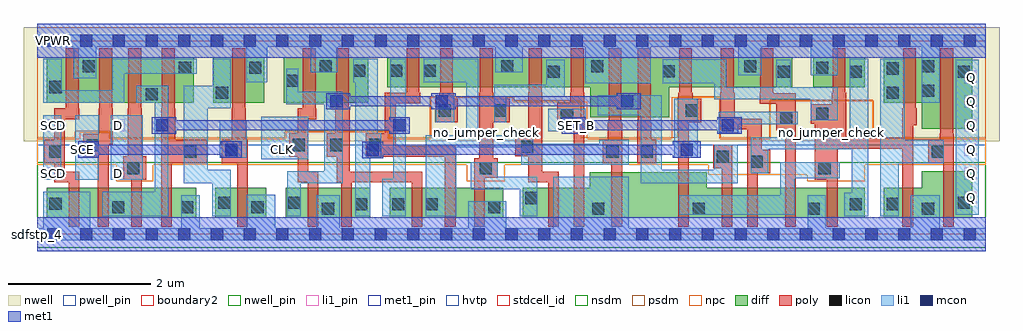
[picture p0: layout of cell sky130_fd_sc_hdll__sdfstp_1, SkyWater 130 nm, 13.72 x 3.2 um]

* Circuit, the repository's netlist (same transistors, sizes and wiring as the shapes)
* Copyright 2020 The SkyWater PDK Authors
*
* Licensed under the Apache License, Version 2.0 (the "License");
* you may not use this file except in compliance with the License.
* You may obtain a copy of the License at
*
*     https://www.apache.org/licenses/LICENSE-2.0
*
* Unless required by applicable law or agreed to in writing, software
* distributed under the License is distributed on an "AS IS" BASIS,
* WITHOUT WARRANTIES OR CONDITIONS OF ANY KIND, either express or implied.
* See the License for the specific language governing permissions and
* limitations under the License.
*
* SPDX-License-Identifier: Apache-2.0

.SUBCKT sky130_fd_sc_hdll__sdfstp_1 CLK D SCD SCE SET_B VGND VNB VPB VPWR Q
*.PININFO CLK:I D:I SCD:I SCE:I SET_B:I VGND:I VNB:I VPB:I VPWR:I Q:O
MI645 sceb SCE VPWR VPB sky130_fd_pr__pfet_01v8_hvt m=1 w=0.64U l=0.18U mult=1
+ sa=0.265 sb=0.265 sd=0.28 area=0.063 perim=1.14
MI658 M1 M0 VPWR VPB sky130_fd_pr__pfet_01v8_hvt m=1 w=0.42U l=0.18U mult=1 sa=0.265
+ sb=0.265 sd=0.28 area=0.063 perim=1.14
MI47 clkpos clkneg VPWR VPB sky130_fd_pr__pfet_01v8_hvt m=1 w=0.64U l=0.18U mult=1
+ sa=0.265 sb=0.265 sd=0.28 area=0.063 perim=1.14
MI663 net165 S0 VPWR VPB sky130_fd_pr__pfet_01v8_hvt m=1 w=0.64U l=0.18U mult=1
+ sa=0.265 sb=0.265 sd=0.28 area=0.063 perim=1.14
MI660 Q net165 VPWR VPB sky130_fd_pr__pfet_01v8_hvt m=1 w=1.0U l=0.18U mult=1 sa=0.265
+ sb=0.265 sd=0.28 area=0.063 perim=1.14
MI659 M1 SET_B VPWR VPB sky130_fd_pr__pfet_01v8_hvt m=1 w=0.42U l=0.18U mult=1
+ sa=0.265 sb=0.265 sd=0.28 area=0.063 perim=1.14
MI662 net109 M1 VPWR VPB sky130_fd_pr__pfet_01v8_hvt m=1 w=0.42U l=0.18U mult=1
+ sa=0.265 sb=0.265 sd=0.28 area=0.063 perim=1.14
MI664 M0 clkneg net109 VPB sky130_fd_pr__pfet_01v8_hvt m=1 w=0.42U l=0.18U mult=1
+ sa=0.265 sb=0.265 sd=0.28 area=0.063 perim=1.14
MI6 net96 S1 VPWR VPB sky130_fd_pr__pfet_01v8_hvt m=1 w=0.42U l=0.18U mult=1 sa=0.265
+ sb=0.265 sd=0.28 area=0.063 perim=1.14
MI669 S0 clkpos net96 VPB sky130_fd_pr__pfet_01v8_hvt m=1 w=0.42U l=0.18U mult=1
+ sa=0.265 sb=0.265 sd=0.28 area=0.063 perim=1.14
MI24 S0 SET_B VPWR VPB sky130_fd_pr__pfet_01v8_hvt m=1 w=0.42U l=0.18U mult=1 sa=0.265
+ sb=0.265 sd=0.28 area=0.063 perim=1.14
MI648 S1 S0 VPWR VPB sky130_fd_pr__pfet_01v8_hvt m=1 w=0.42U l=0.18U mult=1 sa=0.265
+ sb=0.265 sd=0.28 area=0.063 perim=1.14
MI38 S0 clkneg net84 VPB sky130_fd_pr__pfet_01v8_hvt m=1 w=0.84U l=0.18U mult=1
+ sa=0.265 sb=0.265 sd=0.28 area=0.063 perim=1.14
MI37 net84 M0 VPWR VPB sky130_fd_pr__pfet_01v8_hvt m=1 w=0.84U l=0.18U mult=1 sa=0.265
+ sb=0.265 sd=0.28 area=0.063 perim=1.14
MI43 db clkpos M0 VPB sky130_fd_pr__pfet_01v8_hvt m=1 w=0.42U l=0.18U mult=1 sa=0.265
+ sb=0.265 sd=0.28 area=0.063 perim=1.14
MI45 clkneg CLK VPWR VPB sky130_fd_pr__pfet_01v8_hvt m=1 w=0.64U l=0.18U mult=1
+ sa=0.265 sb=0.265 sd=0.28 area=0.063 perim=1.14
MI101 db sceb p1 VPB sky130_fd_pr__pfet_01v8_hvt m=1 w=0.64U l=0.18U mult=1 sa=0.265
+ sb=0.265 sd=0.28 area=0.063 perim=1.14
MI107 p0 SCE VPWR VPB sky130_fd_pr__pfet_01v8_hvt m=1 w=0.64U l=0.18U mult=1 sa=0.265
+ sb=0.265 sd=0.28 area=0.063 perim=1.14
MI94 db D p0 VPB sky130_fd_pr__pfet_01v8_hvt m=1 w=0.64U l=0.18U mult=1 sa=0.265
+ sb=0.265 sd=0.28 area=0.063 perim=1.14
MI108 p1 SCD VPWR VPB sky130_fd_pr__pfet_01v8_hvt m=1 w=0.64U l=0.18U mult=1 sa=0.265
+ sb=0.265 sd=0.28 area=0.063 perim=1.14
MI34 S0 clkpos net189 VNB sky130_fd_pr__nfet_01v8 m=1 w=0.64U l=0.15U mult=1 sa=0.265
+ sb=0.265 sd=0.28 area=0.063 perim=1.14
MI27 net209 S1 net157 VNB sky130_fd_pr__nfet_01v8 m=1 w=0.42U l=0.15U mult=1 sa=0.265
+ sb=0.265 sd=0.28 area=0.063 perim=1.14
MI647 S1 S0 VGND VNB sky130_fd_pr__nfet_01v8 m=1 w=0.42U l=0.15U mult=1 sa=0.265
+ sb=0.265 sd=0.28 area=0.063 perim=1.14
MI655 M0 clkpos net200 VNB sky130_fd_pr__nfet_01v8 m=1 w=0.42U l=0.15U mult=1 sa=0.265
+ sb=0.265 sd=0.28 area=0.063 perim=1.14
MI656 M1 M0 net196 VNB sky130_fd_pr__nfet_01v8 m=1 w=0.42U l=0.15U mult=1 sa=0.265
+ sb=0.265 sd=0.28 area=0.063 perim=1.14
MI654 net200 M1 VGND VNB sky130_fd_pr__nfet_01v8 m=1 w=0.42U l=0.15U mult=1 sa=0.265
+ sb=0.265 sd=0.28 area=0.063 perim=1.14
MI36 net189 M0 VGND VNB sky130_fd_pr__nfet_01v8 m=1 w=0.64U l=0.15U mult=1 sa=0.265
+ sb=0.265 sd=0.28 area=0.063 perim=1.14
MI26 S0 clkneg net209 VNB sky130_fd_pr__nfet_01v8 m=1 w=0.42U l=0.15U mult=1 sa=0.265
+ sb=0.265 sd=0.28 area=0.063 perim=1.14
MI42 db clkneg M0 VNB sky130_fd_pr__nfet_01v8 m=1 w=0.42U l=0.15U mult=1 sa=0.265
+ sb=0.265 sd=0.28 area=0.063 perim=1.14
MI46 clkpos clkneg VGND VNB sky130_fd_pr__nfet_01v8 m=1 w=0.42U l=0.15U mult=1
+ sa=0.265 sb=0.265 sd=0.28 area=0.063 perim=1.14
MI44 clkneg CLK VGND VNB sky130_fd_pr__nfet_01v8 m=1 w=0.42U l=0.15U mult=1 sa=0.265
+ sb=0.265 sd=0.28 area=0.063 perim=1.14
MI657 net196 SET_B VGND VNB sky130_fd_pr__nfet_01v8 m=1 w=0.42U l=0.15U mult=1
+ sa=0.265 sb=0.265 sd=0.28 area=0.063 perim=1.14
MI652 net165 S0 VGND VNB sky130_fd_pr__nfet_01v8 m=1 w=0.42U l=0.15U mult=1 sa=0.265
+ sb=0.265 sd=0.28 area=0.063 perim=1.14
MI644 sceb SCE VGND VNB sky130_fd_pr__nfet_01v8 m=1 w=0.42U l=0.15U mult=1 sa=0.265
+ sb=0.265 sd=0.28 area=0.063 perim=1.14
MI25 net157 SET_B VGND VNB sky130_fd_pr__nfet_01v8 m=1 w=0.42U l=0.15U mult=1 sa=0.265
+ sb=0.265 sd=0.28 area=0.063 perim=1.14
MI653 Q net165 VGND VNB sky130_fd_pr__nfet_01v8 m=1 w=0.65U l=0.15U mult=1 sa=0.265
+ sb=0.265 sd=0.28 area=0.063 perim=1.14
MI98 db D n0 VNB sky130_fd_pr__nfet_01v8 m=1 w=0.42U l=0.15U mult=1 sa=0.265 sb=0.265
+ sd=0.28 area=0.525 perim=3.1
MI103 n1 SCD VGND VNB sky130_fd_pr__nfet_01v8 m=1 w=0.42U l=0.15U mult=1 sa=0.265
+ sb=0.265 sd=0.28 area=0.525 perim=3.1
MI120 db SCE n1 VNB sky130_fd_pr__nfet_01v8 m=1 w=0.42U l=0.15U mult=1 sa=0.265
+ sb=0.265 sd=0.28 area=0.525 perim=3.1
MI104 n0 sceb VGND VNB sky130_fd_pr__nfet_01v8 m=1 w=0.42U l=0.15U mult=1 sa=0.265
+ sb=0.265 sd=0.28 area=0.525 perim=3.1
.ENDS sky130_fd_sc_hdll__sdfstp_1

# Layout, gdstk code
import gdstk
lib = gdstk.Library(unit=1e-6, precision=1e-09)
def R(c, l, rs):  # rectangles x0, y0, x1, y1
    for r in rs: c.add(gdstk.rectangle(r[:2], r[2:], *l))
def A(c, l, x, y, w, h, nx, ny, dx, dy):  # array of equal rectangles
    R(c, l, [(x+i*dx, y+j*dy, x+i*dx+w, y+j*dy+h) for i in range(nx) for j in range(ny)])
def P(c, l, *ps):  # polygons
    for p in ps: c.add(gdstk.Polygon(p, *l))
nwell_pin = (64, 16)
nwell = (64, 20)
diff = (65, 20)
poly = (66, 20)
licon = (66, 44)
li1_pin = (67, 16)
li1 = (67, 20)
mcon = (67, 44)
met1_pin = (68, 16)
met1 = (68, 20)
hvtp = (78, 44)
stdcell_id = (81, 4)
nsdm = (93, 44)
psdm = (94, 20)
npc = (95, 20)
pwell_pin = (122, 16)
boundary2 = (236, 0)

sky130_fd_sc_hdll__sdfst = lib.new_cell('sky130_fd_sc_hdll__sdfstp_1')
R(sky130_fd_sc_hdll__sdfst, nwell_pin, [(0.145,2.635,0.315,2.805)])
R(sky130_fd_sc_hdll__sdfst, nwell, [(-0.19,1.305,13.53,2.91)])
R(sky130_fd_sc_hdll__sdfst, diff, [(0.135,0.235,2.235,0.655), (2.505,0.235,3.225,0.655), (3.495,0.235,4.685,0.655), (4.955,0.235,6.555,0.655), (0.135,1.845,2.205,2.485), (2.475,1.845,3.195,2.485), (3.465,1.845,4.655,2.485), (10.915,2.065,11.635,2.485)])
P(sky130_fd_sc_hdll__sdfst, diff, [(13.15,2.485),(11.905,2.485),(11.905,1.845),(12.44,1.845),(12.44,1.485),(13.15,1.485)],
  [(11.635,0.655),(9.415,0.655),(9.415,0.875),(7.77,0.875),(7.77,0.655),(6.825,0.655),(6.825,0.235),(11.635,0.235)],
  [(13.15,0.885),(12.44,0.885),(12.44,0.655),(11.905,0.655),(11.905,0.235),(13.15,0.235)],
  [(10.62,2.485),(4.925,2.485),(4.925,2.065),(7.775,2.065),(7.775,1.645),(8.885,1.645),(8.885,2.065),(10.62,2.065)])
P(sky130_fd_sc_hdll__sdfst, poly, [(0.595,1.77),(0.585,1.77),(0.585,2.615),(0.405,2.615),(0.405,1.77),(0.24,1.77),(0.24,1.325),(0.105,1.325),(0.105,0.995),(0.24,0.995),(0.24,0.73),(0.445,0.73),(0.445,0.105),(0.595,0.105),(0.595,0.88),(0.39,0.88),(0.39,1.62),(0.595,1.62)],
  [(1.065,1.77),(1.055,1.77),(1.055,2.615),(0.875,2.615),(0.875,1.77),(0.865,1.77),(0.865,1.415),(0.65,1.415),(0.65,1.085),(0.855,1.085),(0.855,0.105),(1.005,0.105),(1.005,1.265),(1.065,1.265)],
  [(1.535,1.095),(1.475,1.095),(1.475,1.77),(1.465,1.77),(1.465,2.615),(1.285,2.615),(1.285,1.77),(1.275,1.77),(1.275,1.095),(1.215,1.095),(1.215,0.765),(1.325,0.765),(1.325,0.105),(1.475,0.105),(1.475,0.765),(1.535,0.765)],
  [(2.39,1.325),(1.945,1.325),(1.945,1.77),(1.935,1.77),(1.935,2.615),(1.755,2.615),(1.755,1.77),(1.745,1.77),(1.745,0.105),(1.895,0.105),(1.895,0.995),(2.39,0.995)],
  [(2.965,1.325),(2.935,1.325),(2.935,1.77),(2.925,1.77),(2.925,2.615),(2.745,2.615),(2.745,1.77),(2.735,1.77),(2.735,1.325),(2.6,1.325),(2.6,0.995),(2.815,0.995),(2.815,0.105),(2.965,0.105)],
  [(3.955,0.88),(3.815,0.88),(3.815,1.62),(3.925,1.62),(3.925,1.77),(3.915,1.77),(3.915,2.615),(3.735,2.615),(3.735,1.77),(3.665,1.77),(3.665,1.42),(3.545,1.42),(3.545,1.09),(3.665,1.09),(3.665,0.73),(3.805,0.73),(3.805,0.105),(3.955,0.105)],
  [(5.415,0.88),(4.395,0.88),(4.395,1.77),(4.385,1.77),(4.385,2.615),(4.205,2.615),(4.205,1.77),(4.195,1.77),(4.195,1.42),(4.075,1.42),(4.075,1.09),(4.21,1.09),(4.21,0.73),(4.275,0.73),(4.275,0.105),(4.425,0.105),(4.425,0.73),(5.265,0.73),(5.265,0.105),(5.415,0.105)],
  [(5.885,1.24),(5.04,1.24),(5.04,1.84),(5.385,1.84),(5.385,1.99),(5.375,1.99),(5.375,2.615),(5.195,2.615),(5.195,1.99),(4.89,1.99),(4.89,1.42),(4.62,1.42),(4.62,1.09),(5.735,1.09),(5.735,0.105),(5.885,0.105)],
  [(5.915,1.905),(5.855,1.905),(5.855,1.99),(5.845,1.99),(5.845,2.615),(5.665,2.615),(5.665,1.99),(5.655,1.99),(5.655,1.905),(5.595,1.905),(5.595,1.575),(5.915,1.575)],
  [(6.645,1.905),(6.415,1.905),(6.415,1.99),(6.405,1.99),(6.405,2.615),(6.225,2.615),(6.225,1.99),(6.215,1.99),(6.215,1.065),(6.145,1.065),(6.145,0.105),(6.295,0.105),(6.295,0.795),(6.475,0.795),(6.475,1.065),(6.415,1.065),(6.415,1.575),(6.645,1.575)],
  [(7.335,0.88),(7.105,0.88),(7.105,1.99),(7.095,1.99),(7.095,2.615),(6.915,2.615),(6.915,1.99),(6.905,1.99),(6.905,1.365),(6.725,1.365),(6.725,1.095),(6.905,1.095),(6.905,0.73),(7.185,0.73),(7.185,0.105),(7.335,0.105)],
  [(7.695,1.99),(7.685,1.99),(7.685,2.615),(7.505,2.615),(7.505,1.99),(7.495,1.99),(7.495,1.845),(7.315,1.845),(7.315,1.515),(7.545,1.515),(7.545,0.105),(7.695,0.105)],
  [(8.225,1.57),(8.215,1.57),(8.215,2.615),(8.035,2.615),(8.035,1.57),(8.025,1.57),(8.025,1.325),(7.955,1.325),(7.955,0.995),(8.075,0.995),(8.075,0.105),(8.225,0.105)],
  [(8.705,1.325),(8.635,1.325),(8.635,1.57),(8.625,1.57),(8.625,2.615),(8.445,2.615),(8.445,1.57),(8.435,1.57),(8.435,0.995),(8.705,0.995)],
  [(9.34,1.905),(9.215,1.905),(9.215,1.99),(9.205,1.99),(9.205,2.615),(9.025,2.615),(9.025,1.99),(9.015,1.99),(9.015,0.105),(9.165,0.105),(9.165,1.575),(9.34,1.575)],
  [(9.775,1.255),(9.505,1.255),(9.505,0.925),(9.625,0.925),(9.625,0.105),(9.775,0.105)],
  [(10.305,1.185),(10.185,1.185),(10.185,1.625),(9.805,1.625),(9.805,1.99),(9.795,1.99),(9.795,2.615),(9.615,2.615),(9.615,1.99),(9.605,1.99),(9.605,1.475),(9.985,1.475),(9.985,0.105),(10.135,0.105),(10.135,0.855),(10.305,0.855)],
  [(10.665,1.985),(10.36,1.985),(10.36,1.99),(10.35,1.99),(10.35,2.615),(10.17,2.615),(10.17,1.99),(10.16,1.99),(10.16,1.835),(10.395,1.835),(10.395,1.465),(10.515,1.465),(10.515,0.105),(10.665,0.105)],
  [(12.365,1.77),(12.355,1.77),(12.355,2.615),(12.175,2.615),(12.175,1.77),(12.165,1.77),(12.165,1.355),(11.375,1.355),(11.375,1.99),(11.365,1.99),(11.365,2.615),(11.185,2.615),(11.185,1.99),(11.175,1.99),(11.175,1.825),(10.875,1.825),(10.875,1.555),(10.935,1.555),(10.935,0.765),(11.105,0.765),(11.105,0.105),(11.255,0.105),(11.255,1.205),(12.165,1.205),(12.165,0.105),(12.315,0.105),(12.315,1.535),(12.365,1.535)],
  [(12.89,1.41),(12.88,1.41),(12.88,2.615),(12.7,2.615),(12.7,1.41),(12.69,1.41),(12.69,1.325),(12.525,1.325),(12.525,0.995),(12.74,0.995),(12.74,0.105),(12.89,0.105)])
R(sky130_fd_sc_hdll__sdfst, licon, [(4.005,0.275,4.175,0.445), (7.805,0.275,7.975,0.445), (9.215,0.275,9.385,0.445), (10.835,0.275,11.005,0.445), (12.44,0.275,12.61,0.445), (1.055,0.295,1.225,0.465), (2.025,0.295,2.195,0.465), (3.015,0.295,3.185,0.465), (6.345,0.295,6.515,0.465), (4.475,0.335,4.645,0.505), (4.995,0.335,5.165,0.505), (5.465,0.335,5.635,0.505), (11.425,0.335,11.595,0.505), (11.945,0.34,12.115,0.51), (0.175,0.345,0.345,0.515), (2.545,0.355,2.715,0.525), (3.535,0.355,3.705,0.525), (12.94,0.355,13.11,0.525), (6.865,0.425,7.035,0.595), (1.265,0.845,1.435,1.015), (6.225,0.845,6.395,1.015), (10.985,0.845,11.155,1.015), (10.035,0.935,10.205,1.105), (9.555,1.005,9.725,1.175), (0.17,1.075,0.34,1.245), (2.065,1.075,2.235,1.245), (2.65,1.075,2.82,1.245), (8.005,1.075,8.175,1.245), (8.485,1.075,8.655,1.245), (12.575,1.075,12.745,1.245), (6.805,1.145,6.975,1.315), (0.7,1.165,0.87,1.335), (3.595,1.17,3.765,1.34), (4.125,1.17,4.295,1.34), (4.67,1.17,4.84,1.34), (10.445,1.545,10.615,1.715), (7.365,1.595,7.535,1.765), (10.955,1.605,11.125,1.775), (5.645,1.655,5.815,1.825), (6.425,1.655,6.595,1.825), (9.12,1.655,9.29,1.825), (1.525,1.885,1.695,2.055), (2.515,1.905,2.685,2.075), (11.945,1.905,12.115,2.075), (12.44,1.935,12.61,2.105), (0.175,1.985,0.345,2.155), (3.505,2.075,3.675,2.245), (7.18,2.2,7.35,2.37), (10.41,2.2,10.58,2.37), (11.425,2.2,11.595,2.37), (12.94,2.2,13.11,2.37), (8.795,2.205,8.965,2.375), (4.445,2.215,4.615,2.385), (4.965,2.215,5.135,2.385), (5.435,2.215,5.605,2.385), (11.945,2.245,12.115,2.415), (1.995,2.255,2.165,2.425), (2.985,2.255,3.155,2.425), (10.955,2.255,11.125,2.425), (0.645,2.275,0.815,2.445), (3.975,2.275,4.145,2.445), (6.525,2.275,6.695,2.445), (7.79,2.275,7.96,2.445), (9.94,2.275,10.11,2.445), (12.44,2.275,12.61,2.445)])
A(sky130_fd_sc_hdll__sdfst, li1_pin, 13.035, 0.425, 0.17, 0.17, 1, 6, 0, 0.34)
R(sky130_fd_sc_hdll__sdfst, li1_pin, [(0.145,0.765,0.315,0.935), (1.065,0.765,1.235,0.935), (3.365,1.105,3.535,1.275), (0.145,1.445,0.315,1.615), (1.065,1.445,1.235,1.615)])
R(sky130_fd_sc_hdll__sdfst, li1, [(12.915,0.275,13.24,2.45), (0.085,0.765,0.34,1.675), (0.54,0.765,0.87,1.675), (1.04,0.765,1.485,1.675), (3.155,1.055,3.815,1.65), (2.57,1.075,2.95,1.6), (8.955,1.075,9.29,1.905), (7.19,1.445,7.715,1.765), (5.605,1.575,5.865,1.955)])
P(sky130_fd_sc_hdll__sdfst, li1, [(1.845,2.085),(1.395,2.085),(1.395,1.845),(1.655,1.845),(1.655,0.595),(0.92,0.595),(0.92,0.255),(1.845,0.255)],
  [(2.245,2.465),(1.055,2.465),(1.055,2.025),(0.345,2.025),(0.345,2.465),(0.085,2.465),(0.085,1.845),(1.225,1.845),(1.225,2.255),(2.245,2.255)],
  [(2.72,0.905),(2.4,0.905),(2.4,1.77),(2.72,1.77),(2.72,2.465),(2.47,2.465),(2.47,2.085),(2.065,2.085),(2.065,0.715),(2.46,0.715),(2.46,0.255),(2.72,0.255)],
  [(4.295,2),(3.675,2),(3.675,2.325),(3.505,2.325),(3.505,1.83),(4.035,1.83),(4.035,0.885),(3.52,0.885),(3.52,0.255),(3.705,0.255),(3.705,0.715),(4.295,0.715)],
  [(4.84,1.42),(4.79,1.42),(4.79,2.465),(4.445,2.465),(4.445,2.135),(4.475,2.135),(4.475,0.255),(4.685,0.255),(4.685,1.085),(4.84,1.085)],
  [(5.18,2.465),(4.965,2.465),(4.965,1.59),(5.01,1.59),(5.01,0.78),(4.855,0.78),(4.855,0.255),(5.18,0.255)],
  [(7.035,0.805),(6.475,0.805),(6.475,1.015),(6.095,1.015),(6.095,0.635),(6.785,0.635),(6.785,0.255),(7.035,0.255)],
  [(7.42,2.45),(7.155,2.45),(7.155,2.105),(6.425,2.105),(6.425,1.575),(6.595,1.575),(6.595,1.935),(7.42,1.935)],
  [(13.34,2.805),(0,2.805),(0,2.635),(0.515,2.635),(0.515,2.195),(0.835,2.195),(0.835,2.635),(2.94,2.635),(2.94,2.14),(3.235,2.14),(3.235,2.635),(3.845,2.635),(3.845,2.275),(4.225,2.275),(4.225,2.635),(6.445,2.635),(6.445,2.275),(6.83,2.275),(6.83,2.635),(7.71,2.635),(7.71,2.125),(8.625,2.125),(8.625,2.635),(9.86,2.635),(9.86,2.235),(10.19,2.235),(10.19,2.635),(10.875,2.635),(10.875,2.235),(11.255,2.235),(11.255,2.635),(12.435,2.635),(12.435,1.845),(12.69,1.845),(12.69,2.635),(13.34,2.635)],
  [(8.315,1.325),(7.905,1.325),(7.905,1.275),(6.975,1.275),(6.975,1.395),(6.205,1.395),(6.205,2.465),(5.435,2.465),(5.435,2.135),(6.035,2.135),(6.035,1.395),(5.465,1.395),(5.465,0.255),(5.89,0.255),(5.89,1.225),(6.805,1.225),(6.805,0.975),(8.315,0.975)],
  [(9.85,1.255),(9.52,1.255),(9.52,0.905),(8.785,0.905),(8.785,1.955),(7.885,1.955),(7.885,1.67),(8.485,1.67),(8.485,0.72),(9.85,0.72)],
  [(10.695,1.725),(9.58,1.725),(9.58,1.425),(9.86,1.425),(9.86,1.545),(10.695,1.545)],
  [(11.255,2.065),(10.595,2.065),(10.595,2.45),(10.395,2.45),(10.395,2.065),(9.69,2.065),(9.69,2.46),(8.795,2.46),(8.795,2.125),(9.52,2.125),(9.52,1.895),(10.875,1.895),(10.875,1.605),(11.255,1.605)],
  [(11.285,1.015),(10.45,1.015),(10.45,0.545),(9.025,0.545),(9.025,0.275),(10.65,0.275),(10.65,0.785),(11.285,0.785)],
  [(11.685,2.465),(11.425,2.465),(11.425,1.365),(10.035,1.365),(10.035,0.855),(10.28,0.855),(10.28,1.195),(11.455,1.195),(11.455,0.585),(11.345,0.585),(11.345,0.255),(11.685,0.255)],
  [(12.745,1.325),(12.195,1.325),(12.195,2.465),(11.855,2.465),(11.855,0.255),(12.115,0.255),(12.115,0.995),(12.745,0.995)],
  [(13.34,0.085),(12.69,0.085),(12.69,0.55),(12.285,0.55),(12.285,0.085),(11.085,0.085),(11.085,0.545),(10.835,0.545),(10.835,0.085),(8.315,0.085),(8.315,0.805),(7.255,0.805),(7.255,0.085),(6.595,0.085),(6.595,0.465),(6.06,0.465),(6.06,0.085),(4.255,0.085),(4.255,0.545),(3.925,0.545),(3.925,0.085),(3.35,0.085),(3.35,0.555),(2.94,0.555),(2.94,0.085),(2.29,0.085),(2.29,0.545),(2.025,0.545),(2.025,0.085),(0.75,0.085),(0.75,0.595),(0.085,0.595),(0.085,0.085),(0,0.085),(0,-0.085),(13.34,-0.085)])
A(sky130_fd_sc_hdll__sdfst, mcon, 0.145, -0.085, 0.17, 0.17, 29, 2, 0.46, 2.72)
R(sky130_fd_sc_hdll__sdfst, mcon, [(4.635,1.1,4.805,1.27), (0.64,1.105,0.81,1.275), (2.645,1.105,2.815,1.275), (9.05,1.105,9.22,1.275), (1.675,1.445,1.845,1.615), (5.01,1.445,5.18,1.615), (7.435,1.445,7.605,1.615), (9.625,1.445,9.795,1.615), (4.125,1.785,4.295,1.955), (5.605,1.785,5.775,1.955), (8.21,1.785,8.38,1.955)])
R(sky130_fd_sc_hdll__sdfst, met1_pin, [(0.145,-0.085,0.315,0.085), (0.605,1.105,0.775,1.275), (7.505,1.445,7.675,1.615), (0.145,2.635,0.315,2.805)])
R(sky130_fd_sc_hdll__sdfst, met1, [(0,-0.24,13.34,0.24), (0,2.48,13.34,2.96)])
P(sky130_fd_sc_hdll__sdfst, met1, [(2.875,1.305),(2.585,1.305),(2.585,1.26),(0.87,1.26),(0.87,1.305),(0.58,1.305),(0.58,1.075),(0.87,1.075),(0.87,1.12),(2.585,1.12),(2.585,1.075),(2.875,1.075)],
  [(5.24,1.645),(4.95,1.645),(4.95,1.6),(1.955,1.6),(1.955,1.645),(1.615,1.645),(1.615,1.415),(1.955,1.415),(1.955,1.46),(4.95,1.46),(4.95,1.415),(5.24,1.415)],
  [(8.49,1.985),(8.15,1.985),(8.15,1.94),(5.885,1.94),(5.885,1.985),(5.545,1.985),(5.545,1.94),(4.405,1.94),(4.405,1.985),(4.065,1.985),(4.065,1.755),(4.405,1.755),(4.405,1.8),(5.545,1.8),(5.545,1.755),(5.885,1.755),(5.885,1.8),(8.15,1.8),(8.15,1.755),(8.49,1.755)],
  [(9.33,1.305),(8.94,1.305),(8.94,1.26),(4.865,1.26),(4.865,1.3),(4.575,1.3),(4.575,1.07),(4.865,1.07),(4.865,1.12),(8.94,1.12),(8.94,1.075),(9.33,1.075)],
  [(9.905,1.645),(9.565,1.645),(9.565,1.6),(7.715,1.6),(7.715,1.645),(7.375,1.645),(7.375,1.415),(7.715,1.415),(7.715,1.46),(9.565,1.46),(9.565,1.415),(9.905,1.415)])
R(sky130_fd_sc_hdll__sdfst, hvtp, [(0,1.25,13.34,2.72)])
R(sky130_fd_sc_hdll__sdfst, stdcell_id, [(0,0,13.34,2.72)])
R(sky130_fd_sc_hdll__sdfst, nsdm, [(0,-0.19,13.34,1.015)])
P(sky130_fd_sc_hdll__sdfst, psdm, [(13.34,2.91),(0,2.91),(0,1.355),(0.54,1.355),(0.54,1.445),(1.03,1.445),(1.03,1.355),(3.485,1.355),(3.485,1.45),(4.95,1.45),(4.95,1.355),(5.525,1.355),(5.525,1.935),(6.7,1.935),(6.7,1.875),(7.645,1.875),(7.645,1.355),(9.01,1.355),(9.01,1.935),(9.605,1.935),(9.605,1.355),(10.3,1.355),(10.3,1.885),(11.755,1.885),(11.755,1.355),(13.34,1.355)])
P(sky130_fd_sc_hdll__sdfst, npc, [(13.34,1.345),(11.745,1.345),(11.745,1.875),(10.31,1.875),(10.31,1.345),(9.595,1.345),(9.595,1.925),(8.925,1.925),(8.925,1.345),(7.735,1.345),(7.735,1.865),(6.69,1.865),(6.69,1.925),(5.535,1.925),(5.535,1.345),(4.94,1.345),(4.94,1.44),(3.495,1.44),(3.495,1.345),(1.02,1.345),(1.02,1.435),(0.6,1.435),(0.6,1.345),(0,1.345),(0,0.975),(1.115,0.975),(1.115,0.745),(1.635,0.745),(1.635,0.975),(6.04,0.975),(6.04,0.745),(6.575,0.745),(6.575,0.975),(9.435,0.975),(9.435,0.835),(10.83,0.835),(10.83,0.745),(11.635,0.745),(11.635,0.975),(13.34,0.975)])
R(sky130_fd_sc_hdll__sdfst, pwell_pin, [(0.145,-0.085,0.315,0.085)])
R(sky130_fd_sc_hdll__sdfst, boundary2, [(0,0,13.34,2.72)])
sky130_fd_sc_hdll__sdfst.add(gdstk.Label('no_jumper_check', (6.315,1.43), layer=83, texttype=44))
sky130_fd_sc_hdll__sdfst.add(gdstk.Label('sdfstp_4', (0,0), layer=83, texttype=44))
sky130_fd_sc_hdll__sdfst.add(gdstk.Label('no_jumper_check', (11.165,1.435), layer=83, texttype=44))
sky130_fd_sc_hdll__sdfst.add(gdstk.Label('SCE', (0.64,1.19), layer=68, texttype=5))
sky130_fd_sc_hdll__sdfst.add(gdstk.Label('SET_B', (7.59,1.53), layer=68, texttype=5))
sky130_fd_sc_hdll__sdfst.add(gdstk.Label('VPWR', (0.23,2.72), layer=68, texttype=5))
sky130_fd_sc_hdll__sdfst.add(gdstk.Label('VGND', (0.23,0), layer=68, texttype=5))
sky130_fd_sc_hdll__sdfst.add(gdstk.Label('CLK', (3.45,1.19), layer=67, texttype=5))
sky130_fd_sc_hdll__sdfst.add(gdstk.Label('D', (1.15,0.85), layer=67, texttype=5))
sky130_fd_sc_hdll__sdfst.add(gdstk.Label('SCD', (0.23,1.53), layer=67, texttype=5))
sky130_fd_sc_hdll__sdfst.add(gdstk.Label('D', (1.15,1.53), layer=67, texttype=5))
sky130_fd_sc_hdll__sdfst.add(gdstk.Label('SCD', (0.23,0.85), layer=67, texttype=5))
sky130_fd_sc_hdll__sdfst.add(gdstk.Label('Q', (13.13,1.87), layer=67, texttype=5))
sky130_fd_sc_hdll__sdfst.add(gdstk.Label('Q', (13.13,2.21), layer=67, texttype=5))
sky130_fd_sc_hdll__sdfst.add(gdstk.Label('Q', (13.13,1.19), layer=67, texttype=5))
sky130_fd_sc_hdll__sdfst.add(gdstk.Label('Q', (13.13,0.85), layer=67, texttype=5))
sky130_fd_sc_hdll__sdfst.add(gdstk.Label('Q', (13.13,0.51), layer=67, texttype=5))
sky130_fd_sc_hdll__sdfst.add(gdstk.Label('Q', (13.13,1.53), layer=67, texttype=5))
sky130_fd_sc_hdll__sdfst.add(gdstk.Label('VPB', (0.23,2.72), layer=64, texttype=5))
sky130_fd_sc_hdll__sdfst.add(gdstk.Label('VNB', (0.23,0), layer=64, texttype=59))

lib.write_gds('sky130_fd_sc_hdll__sdfstp_1.gds')
